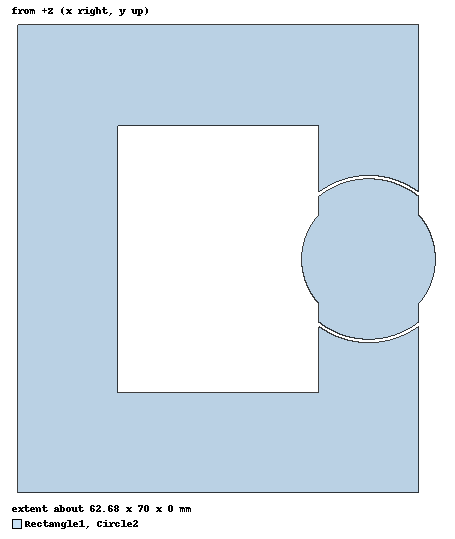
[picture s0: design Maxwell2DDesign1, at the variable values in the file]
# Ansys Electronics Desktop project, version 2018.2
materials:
  vacuum: permittivity=1

design Maxwell2DDesign1 (Maxwell 2D, Magnetostatic, XY geometry, model units mm)
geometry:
  Rectangle1 [vacuum] = rectangle(corner=(-30mm, 35mm, 0mm), x_size=60mm, y_size=-70mm)
  Rectangle2 = rectangle(corner=(-15mm, 20mm, 0mm), x_size=30mm, y_size=-40mm)
  Rectangle1.subtract(Rectangle2)
  Circle1 = circle(normal=Z, centre=(22.5mm, 0mm, 0mm), radius=12.5mm)
  Rectangle1.subtract(Circle1)
  Circle2 [vacuum] = circle(normal=Z, centre=(22.5mm, 0mm, 0mm), radius=12mm)
  Circle3 = circle(normal=Z, centre=(22.5mm, 0mm, 0mm), radius=10mm)
  Rectangle3 = rectangle(corner=(15mm, 10mm, 0mm), x_size=-7mm, y_size=-20mm)
  Circle2.subtract(Rectangle3)
  Rectangle4 = rectangle(corner=(30mm, 10mm, 0mm), x_size=6mm, y_size=-20mm)
  Circle2.subtract(Rectangle4)
  Circle2.unite(Circle3)
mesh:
  initial mesh: MeshMethod=AnsoftTAU
